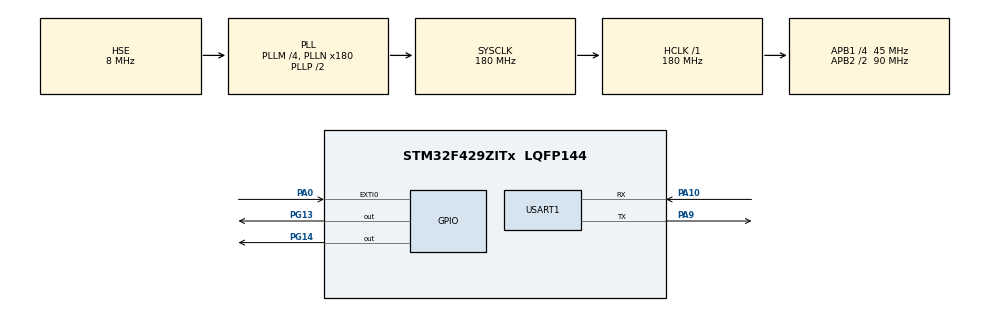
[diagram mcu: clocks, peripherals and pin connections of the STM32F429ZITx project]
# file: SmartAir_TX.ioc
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FREERTOS.BinarySemaphores01=myBinarySem01,Dynamic,NULL,Available
FREERTOS.Mutexes01=myMutex01,Dynamic,NULL,Available
FREERTOS.Queues01=myQueue01,16,uint16_t,0,Dynamic,NULL,NULL;myQueue02,16,uint16_t,0,Dynamic,NULL,NULL;myQueue03,16,uint16_t,0,Dynamic,NULL,NULL
FREERTOS.Tasks01=defaultTask,0,128,StartDefaultTask,Default,NULL,Dynamic,NULL,NULL
FREERTOS.Timers01=myTimer01,Callback01,osTimerPeriodic,Default,NULL,Dynamic,NULL
FREERTOS.configUSE_TIMERS=1
Mcu.Family=STM32F4
Mcu.Name=STM32F429ZITx
Mcu.Package=LQFP144
NVIC.EXTI0_IRQn=true\:5\:0\:false\:false\:true\:true\:true\:true\:true
NVIC.PriorityGroup=NVIC_PRIORITYGROUP_4
PA0/WKUP.GPIO_ModeDefaultEXTI=GPIO_MODE_IT_RISING
PA0/WKUP.GPIO_PuPd=GPIO_PULLDOWN
PA0/WKUP.Signal=GPXTI0
PA10.Mode=Asynchronous
PA10.Signal=USART1_RX
PA9.Mode=Asynchronous
PA9.Signal=USART1_TX
PG13.Signal=GPIO_Output
PG14.Signal=GPIO_Output
PH0/OSC_IN.Mode=HSE-External-Oscillator
PH0/OSC_IN.Signal=RCC_OSC_IN
PH1/OSC_OUT.Mode=HSE-External-Oscillator
PH1/OSC_OUT.Signal=RCC_OSC_OUT
ProjectManager.HeapSize=0x200
ProjectManager.StackSize=0x400
ProjectManager.TargetToolchain=STM32CubeIDE
RCC.48MHZClocksFreq_Value=90000000
RCC.AHBFreq_Value=180000000
RCC.APB1CLKDivider=RCC_HCLK_DIV4
RCC.APB1Freq_Value=45000000
RCC.APB1TimFreq_Value=90000000
RCC.APB2CLKDivider=RCC_HCLK_DIV2
RCC.APB2Freq_Value=90000000
RCC.APB2TimFreq_Value=180000000
RCC.CortexFreq_Value=180000000
RCC.HCLKFreq_Value=180000000
RCC.HSE_VALUE=8000000
RCC.HSI_VALUE=16000000
RCC.LSE_VALUE=32768
RCC.PLLM=4
RCC.PLLN=180
RCC.PLLSourceVirtual=RCC_PLLSOURCE_HSE
RCC.SYSCLKFreq_VALUE=180000000
RCC.SYSCLKSource=RCC_SYSCLKSOURCE_PLLCLK
RCC.VCOOutputFreq_Value=360000000
USART1.VirtualMode=VM_ASYNC
VP_FREERTOS_VS_CMSIS_V1.Mode=CMSIS_V1
board=custom

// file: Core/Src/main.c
/* USER CODE BEGIN Header */
/**
 ******************************************************************************
 * @file           : main.c
 * @brief          : Main program body
 ******************************************************************************
 * @attention
 *
 * Copyright (c) 2026 STMicroelectronics.
 * All rights reserved.
 *
 * This software is licensed under terms that can be found in the LICENSE file
 * in the root directory of this software component.
 * If no LICENSE file comes with this software, it is provided AS-IS.
 *
 ******************************************************************************
 */
/* USER CODE END Header */
#include "main.h"
#include "cmsis_os.h"

/* USER CODE BEGIN Includes */
#include"dht11.h"
/* USER CODE END Includes */

UART_HandleTypeDef huart1;

osThreadId defaultTaskHandle;
osMessageQId myQueue01Handle;
osMessageQId myQueue02Handle;
osMessageQId myQueue03Handle;
osTimerId myTimer01Handle;
osMutexId myMutex01Handle;
osSemaphoreId myBinarySem01Handle;

void SystemClock_Config(void);
static void MX_GPIO_Init(void);
static void MX_USART1_UART_Init(void);
void StartDefaultTask(void const * argument);
void Callback01(void const * argument);

/* USER CODE BEGIN 0 */
TaskHandle_t Send_task;
TaskHandle_t Receive_task;
TaskHandle_t Timer_task;
TaskHandle_t Status_task;
SemaphoreHandle_t My_mutex;
QueueHandle_t MY_Queue;
SemaphoreHandle_t My_Semaphore = NULL;
StaticSemaphore_t My_SemaphoreBuffer;
uint8_t event_count;
TimerHandle_t Timer1;
TimerHandle_t Timer2;

void* Send_Task(void *arg);
void* Receive_Task(void *arg);
void* Timer_Task(void *arg);
void* Status_Task(void *arg);
void HAL_GPIO_EXTI_Callback(uint16_t GPIO_Pin);

int _write(int file, char *str, int size) {
	HAL_UART_Transmit(&huart1, (uint8_t*) str, size, HAL_MAX_DELAY);
	return size;
}

/* USER CODE END 0 */

int main(void)
{

  /* MCU Configuration--------------------------------------------------------*/

  /* Reset of all peripherals, Initializes the Flash interface and the Systick. */
  HAL_Init();

  /* Configure the system clock */
  SystemClock_Config();

  /* Initialize all configured peripherals */
  MX_GPIO_Init();
  MX_USART1_UART_Init();
  /* USER CODE BEGIN 2 */

	DWT_Delay_Init();

	My_Semaphore = xSemaphoreCreateBinary();
	My_mutex = xSemaphoreCreateMutex();
	MY_Queue = xQueueCreate(10, sizeof(uint8_t));

	Timer1 = xTimerCreate("Timer1", pdMS_TO_TICKS(3000), pdTRUE, 0, Timer_Task);
	xTimerStart(Timer1, 0);
	Timer2 = xTimerCreate("Timer2", pdMS_TO_TICKS(10000), pdTRUE, 0,Status_Task);
	xTimerStart(Timer2, 0);

	xTaskCreate(Send_Task, "Send_task", 256, NULL, 2, &Send_task);
	xTaskCreate(Receive_Task, "Receive_task", 256, NULL, 3, &Receive_task);

	//printf("All task1\n\r");

	vTaskStartScheduler();
  /* USER CODE END 2 */

  /* Create the mutex(es) */
  /* definition and creation of myMutex01 */
  osMutexDef(myMutex01);
  myMutex01Handle = osMutexCreate(osMutex(myMutex01));

  /* Create the semaphores(s) */
  /* definition and creation of myBinarySem01 */
  osSemaphoreDef(myBinarySem01);
  myBinarySem01Handle = osSemaphoreCreate(osSemaphore(myBinarySem01), 1);

  /* Create the timer(s) */
  /* definition and creation of myTimer01 */
  osTimerDef(myTimer01, Callback01);
  myTimer01Handle = osTimerCreate(osTimer(myTimer01), osTimerPeriodic, NULL);

  /* Create the queue(s) */
  /* definition and creation of myQueue01 */
  osMessageQDef(myQueue01, 16, uint16_t);
  myQueue01Handle = osMessageCreate(osMessageQ(myQueue01), NULL);

  /* definition and creation of myQueue02 */
  osMessageQDef(myQueue02, 16, uint16_t);
  myQueue02Handle = osMessageCreate(osMessageQ(myQueue02), NULL);

  /* definition and creation of myQueue03 */
  osMessageQDef(myQueue03, 16, uint16_t);
  myQueue03Handle = osMessageCreate(osMessageQ(myQueue03), NULL);

  /* Create the thread(s) */
  /* definition and creation of defaultTask */
  osThreadDef(defaultTask, StartDefaultTask, osPriorityNormal, 0, 128);
  defaultTaskHandle = osThreadCreate(osThread(defaultTask), NULL);

  /* Start scheduler */
 // osKernelStart();

  /* We should never get here as control is now taken by the scheduler */

  /* Infinite loop */
	while (1) {

	}
}

void SystemClock_Config(void)
{
  RCC_OscInitTypeDef RCC_OscInitStruct = {0};
  RCC_ClkInitTypeDef RCC_ClkInitStruct = {0};

  /** Configure the main internal regulator output voltage
  */
  __HAL_RCC_PWR_CLK_ENABLE();
  __HAL_PWR_VOLTAGESCALING_CONFIG(PWR_REGULATOR_VOLTAGE_SCALE1);

  /** Initializes the RCC Oscillators according to the specified parameters
  * in the RCC_OscInitTypeDef structure.
  */
  RCC_OscInitStruct.OscillatorType = RCC_OSCILLATORTYPE_HSE;
  RCC_OscInitStruct.HSEState = RCC_HSE_ON;
  RCC_OscInitStruct.PLL.PLLState = RCC_PLL_ON;
  RCC_OscInitStruct.PLL.PLLSource = RCC_PLLSOURCE_HSE;
  RCC_OscInitStruct.PLL.PLLM = 4;
  RCC_OscInitStruct.PLL.PLLN = 180;
  RCC_OscInitStruct.PLL.PLLP = RCC_PLLP_DIV2;
  RCC_OscInitStruct.PLL.PLLQ = 4;
  if (HAL_RCC_OscConfig(&RCC_OscInitStruct) != HAL_OK)
  {
    Error_Handler();
  }

  /** Activate the Over-Drive mode
  */
  if (HAL_PWREx_EnableOverDrive() != HAL_OK)
  {
    Error_Handler();
  }

  /** Initializes the CPU, AHB and APB buses clocks
  */
  RCC_ClkInitStruct.ClockType = RCC_CLOCKTYPE_HCLK|RCC_CLOCKTYPE_SYSCLK
                              |RCC_CLOCKTYPE_PCLK1|RCC_CLOCKTYPE_PCLK2;
  RCC_ClkInitStruct.SYSCLKSource = RCC_SYSCLKSOURCE_PLLCLK;
  RCC_ClkInitStruct.AHBCLKDivider = RCC_SYSCLK_DIV1;
  RCC_ClkInitStruct.APB1CLKDivider = RCC_HCLK_DIV4;
  RCC_ClkInitStruct.APB2CLKDivider = RCC_HCLK_DIV2;

  if (HAL_RCC_ClockConfig(&RCC_ClkInitStruct, FLASH_LATENCY_5) != HAL_OK)
  {
    Error_Handler();
  }
}

static void MX_USART1_UART_Init(void)
{

  huart1.Instance = USART1;
  huart1.Init.BaudRate = 115200;
  huart1.Init.WordLength = UART_WORDLENGTH_8B;
  huart1.Init.StopBits = UART_STOPBITS_1;
  huart1.Init.Parity = UART_PARITY_NONE;
  huart1.Init.Mode = UART_MODE_TX_RX;
  huart1.Init.HwFlowCtl = UART_HWCONTROL_NONE;
  huart1.Init.OverSampling = UART_OVERSAMPLING_16;
  if (HAL_UART_Init(&huart1) != HAL_OK)
  {
    Error_Handler();
  }

}

static void MX_GPIO_Init(void)
{
  GPIO_InitTypeDef GPIO_InitStruct = {0};

  /* GPIO Ports Clock Enable */
  __HAL_RCC_GPIOH_CLK_ENABLE();
  __HAL_RCC_GPIOA_CLK_ENABLE();
  __HAL_RCC_GPIOG_CLK_ENABLE();

  /*Configure GPIO pin Output Level */
  HAL_GPIO_WritePin(GPIOG, GPIO_PIN_13|GPIO_PIN_14, GPIO_PIN_RESET);

  /*Configure GPIO pin : PA0 */
  GPIO_InitStruct.Pin = GPIO_PIN_0;
  GPIO_InitStruct.Mode = GPIO_MODE_IT_RISING;
  GPIO_InitStruct.Pull = GPIO_PULLDOWN;
  HAL_GPIO_Init(GPIOA, &GPIO_InitStruct);

  /*Configure GPIO pins : PG13 PG14 */
  GPIO_InitStruct.Pin = GPIO_PIN_13|GPIO_PIN_14;
  GPIO_InitStruct.Mode = GPIO_MODE_OUTPUT_PP;
  GPIO_InitStruct.Pull = GPIO_NOPULL;
  GPIO_InitStruct.Speed = GPIO_SPEED_FREQ_LOW;
  HAL_GPIO_Init(GPIOG, &GPIO_InitStruct);

  /* EXTI interrupt init*/
  HAL_NVIC_SetPriority(EXTI0_IRQn, 5, 0);
  HAL_NVIC_EnableIRQ(EXTI0_IRQn);

}

/* USER CODE BEGIN 4 */
void Send_Task(void *arg) {
	DHT11_Data_t data;
	uint8_t temp, hum;
	for (;;) {
	//	printf("sender starts\n\r");
		event_count++;
		Read_Temp_Hum(&data);
		temp = data.temperature;
		hum = data.humidity;
	//	printf("sender ends\n\r");
		xSemaphoreTake(My_Semaphore, portMAX_DELAY);
		xQueueSend(MY_Queue, &temp, portMAX_DELAY);
		xQueueSend(MY_Queue, &hum, portMAX_DELAY);
//		printf("sender last\n\r");
	}
}

void Receive_Task(void *arg) {
	uint8_t temp, hum;
	for (;;) {
//		printf("recv starts\n\r");
		xQueueReceive(MY_Queue, &temp, portMAX_DELAY);
		xQueueReceive(MY_Queue, &hum, portMAX_DELAY);
		xSemaphoreTake(My_mutex, portMAX_DELAY);
		printf("Temp->%d Hum->%d\n\r", temp, hum);
		xSemaphoreGive(My_mutex);
	//	printf("recv ends\n\r");
	}
}

void Timer_Task(void *arg) {
	xSemaphoreGive(My_Semaphore);
}

void HAL_GPIO_EXTI_Callback(uint16_t GPIO_Pin) {
	BaseType_t HighPriorityTaskWoken = pdFALSE;
	xSemaphoreGiveFromISR(My_Semaphore, HighPriorityTaskWoken);
	portYIELD_FROM_ISR(HighPriorityTaskWoken);
}

void Status_Task(void *arg) {
	xSemaphoreTake(My_mutex, portMAX_DELAY);
	printf("Tx event %d times\n\r", event_count);
	xSemaphoreGive(My_mutex);
}

/* USER CODE END 4 */

void StartDefaultTask(void const * argument)
{
  /* USER CODE BEGIN 5 */
///* Infinite loop */
//  for(;;)
//  {
//   osDelay(1);
// }
  /* USER CODE END 5 */
}

/* Callback01 function */
void Callback01(void const * argument)
{
}

void Error_Handler(void)
{
	__disable_irq();
	while (1) {
	}
}
